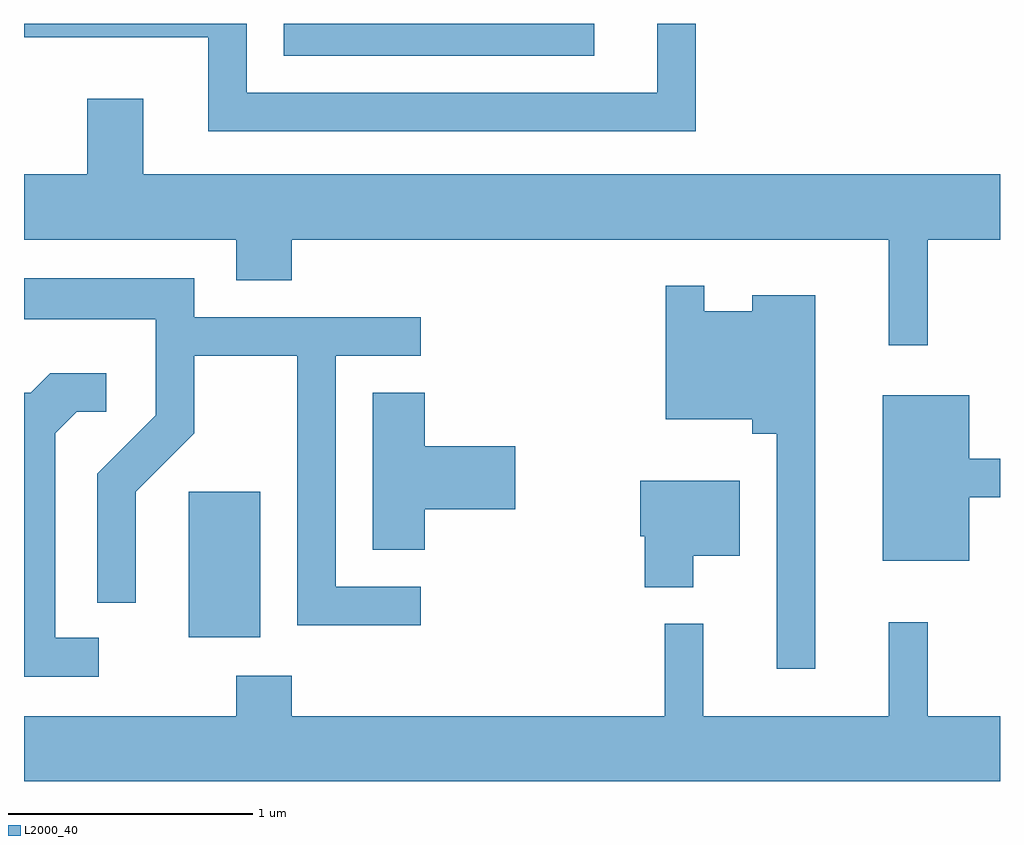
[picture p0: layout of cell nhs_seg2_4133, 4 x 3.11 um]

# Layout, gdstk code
import gdstk
lib = gdstk.Library(unit=1e-6, precision=1e-09)
def R(c, l, rs):  # rectangles x0, y0, x1, y1
    for r in rs: c.add(gdstk.rectangle(r[:2], r[2:], *l))
def P(c, l, *ps):  # polygons
    for p in ps: c.add(gdstk.Polygon(p, *l))
L2000_40 = (2000, 40)

nhs_seg2_4133 = lib.new_cell('nhs_seg2_4133')
R(nhs_seg2_4133, L2000_40, [(306.286,1113.286,306.579,1113.884), (306.676,1115.671,307.948,1115.802)])
P(nhs_seg2_4133, L2000_40, [(308.364,1115.802),(308.206,1115.802),(308.206,1115.519),(306.524,1115.519),(306.524,1115.802),(305.611,1115.802),(305.611,1115.746),(306.366,1115.746),(306.366,1115.361),(308.364,1115.361)],
  [(309.314,1114.916),(309.611,1114.916),(309.611,1115.184),(306.099,1115.184),(306.099,1115.494),(305.871,1115.494),(305.871,1115.184),(305.611,1115.184),(305.611,1114.916),(306.481,1114.916),(306.481,1114.751),(306.709,1114.751),(306.709,1114.916),(309.156,1114.916),(309.156,1114.483),(309.314,1114.483)],
  [(307.238,1113.494),(306.889,1113.494),(306.889,1114.441),(307.238,1114.441),(307.238,1114.599),(306.309,1114.599),(306.309,1114.759),(305.611,1114.759),(305.611,1114.591),(306.151,1114.591),(306.151,1114.197),(305.911,1113.957),(305.911,1113.428),(306.069,1113.428),(306.069,1113.884),(306.309,1114.124),(306.309,1114.441),(306.731,1114.441),(306.731,1113.336),(307.238,1113.336)],
  [(308.854,1114.689),(308.596,1114.689),(308.596,1114.624),(308.399,1114.624),(308.399,1114.728),(308.241,1114.728),(308.241,1114.181),(308.596,1114.181),(308.596,1114.121),(308.696,1114.121),(308.696,1113.158),(308.854,1113.158)],
  [(305.918,1113.284),(305.739,1113.284),(305.739,1114.124),(305.827,1114.211),(305.948,1114.211),(305.948,1114.369),(305.719,1114.369),(305.639,1114.289),(305.611,1114.289),(305.611,1113.126),(305.918,1113.126)],
  [(307.254,1113.811),(307.624,1113.811),(307.624,1114.069),(307.254,1114.069),(307.254,1114.289),(307.041,1114.289),(307.041,1113.646),(307.254,1113.646)],
  [(309.484,1113.861),(309.611,1113.861),(309.611,1114.019),(309.484,1114.019),(309.484,1114.279),(309.131,1114.279),(309.131,1113.601),(309.484,1113.601)],
  [(308.354,1113.621),(308.544,1113.621),(308.544,1113.929),(308.136,1113.929),(308.136,1113.701),(308.156,1113.701),(308.156,1113.491),(308.354,1113.491)],
  [(306.481,1113.129),(306.481,1112.964),(305.611,1112.964),(305.611,1112.696),(309.611,1112.696),(309.611,1112.964),(309.314,1112.964),(309.314,1113.348),(309.156,1113.348),(309.156,1112.964),(308.394,1112.964),(308.394,1113.343),(308.236,1113.343),(308.236,1112.964),(306.709,1112.964),(306.709,1113.129)])

lib.write_gds('nhs_seg2_4133.gds')
